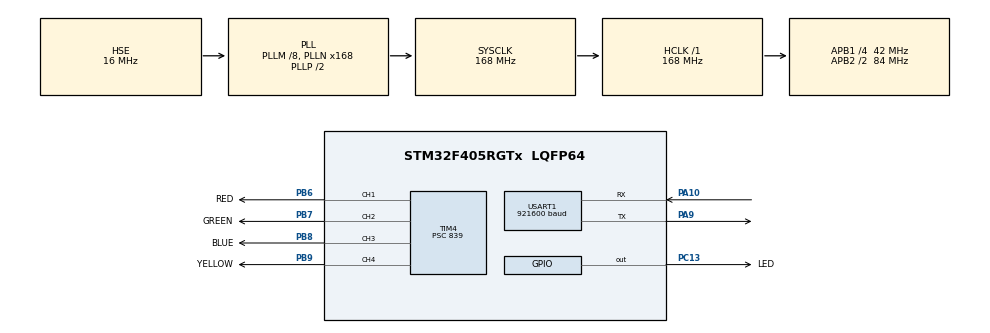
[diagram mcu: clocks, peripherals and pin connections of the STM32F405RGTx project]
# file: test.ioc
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Mcu.Family=STM32F4
Mcu.Name=STM32F405RGTx
Mcu.Package=LQFP64
Mcu.UserConstants=SAMPLE_RANGE,1000
NVIC.PriorityGroup=NVIC_PRIORITYGROUP_4
PA10.Mode=Asynchronous
PA10.Signal=USART1_RX
PA13.Mode=Trace_Asynchronous_SW
PA13.Signal=SYS_JTMS-SWDIO
PA14.Mode=Trace_Asynchronous_SW
PA14.Signal=SYS_JTCK-SWCLK
PA9.Mode=Asynchronous
PA9.Signal=USART1_TX
PB3.Mode=Trace_Asynchronous_SW
PB3.Signal=SYS_JTDO-SWO
PB6.GPIO_Label=RED
PB6.Signal=S_TIM4_CH1
PB7.GPIO_Label=GREEN
PB7.Signal=S_TIM4_CH2
PB8.GPIO_Label=BLUE
PB8.Signal=S_TIM4_CH3
PB9.GPIO_Label=YELLOW
PB9.Signal=S_TIM4_CH4
PC13-ANTI_TAMP.GPIO_Label=LED
PC13-ANTI_TAMP.GPIO_ModeDefaultOutputPP=GPIO_MODE_OUTPUT_OD
PC13-ANTI_TAMP.GPIO_PuPd=GPIO_NOPULL
PC13-ANTI_TAMP.PinState=GPIO_PIN_SET
PC13-ANTI_TAMP.Signal=GPIO_Output
PH0-OSC_IN.Mode=HSE-External-Oscillator
PH0-OSC_IN.Signal=RCC_OSC_IN
PH1-OSC_OUT.Mode=HSE-External-Oscillator
PH1-OSC_OUT.Signal=RCC_OSC_OUT
ProjectManager.HeapSize=0x200
ProjectManager.StackSize=0x400
ProjectManager.TargetToolchain=STM32CubeIDE
RCC.48MHZClocksFreq_Value=84000000
RCC.AHBFreq_Value=168000000
RCC.APB1CLKDivider=RCC_HCLK_DIV4
RCC.APB1Freq_Value=42000000
RCC.APB1TimFreq_Value=84000000
RCC.APB2CLKDivider=RCC_HCLK_DIV2
RCC.APB2Freq_Value=84000000
RCC.APB2TimFreq_Value=168000000
RCC.CortexFreq_Value=168000000
RCC.HCLKFreq_Value=168000000
RCC.HSE_VALUE=16000000
RCC.HSI_VALUE=16000000
RCC.LSE_VALUE=32768
RCC.PLLM=8
RCC.PLLN=168
RCC.PLLSourceVirtual=RCC_PLLSOURCE_HSE
RCC.SYSCLKFreq_VALUE=168000000
RCC.SYSCLKSource=RCC_SYSCLKSOURCE_PLLCLK
RCC.VCOOutputFreq_Value=336000000
SH.S_TIM4_CH1.0=TIM4_CH1,PWM Generation1 CH1
SH.S_TIM4_CH2.0=TIM4_CH2,PWM Generation2 CH2
SH.S_TIM4_CH3.0=TIM4_CH3,PWM Generation3 CH3
SH.S_TIM4_CH4.0=TIM4_CH4,PWM Generation4 CH4
TIM4.Channel-PWM\ Generation1\ CH1=TIM_CHANNEL_1
TIM4.Channel-PWM\ Generation2\ CH2=TIM_CHANNEL_2
TIM4.Channel-PWM\ Generation3\ CH3=TIM_CHANNEL_3
TIM4.Channel-PWM\ Generation4\ CH4=TIM_CHANNEL_4
TIM4.OCFastMode_PWM-PWM\ Generation1\ CH1=TIM_OCFAST_DISABLE
TIM4.OCPolarity_1=TIM_OCPOLARITY_LOW
TIM4.OCPolarity_2=TIM_OCPOLARITY_LOW
TIM4.OCPolarity_3=TIM_OCPOLARITY_LOW
TIM4.OCPolarity_4=TIM_OCPOLARITY_LOW
TIM4.Period=SAMPLE_RANGE - 1
TIM4.Prescaler=839
TIM4.Pulse-PWM\ Generation1\ CH1=0
TIM4.Pulse-PWM\ Generation2\ CH2=0
TIM4.Pulse-PWM\ Generation3\ CH3=0
TIM4.Pulse-PWM\ Generation4\ CH4=0
TIM4.TIM_MasterOutputTrigger=TIM_TRGO_ENABLE
USART1.BaudRate=921600
USART1.VirtualMode=VM_ASYNC
VP_TIM4_VS_ClockSourceINT.Mode=Internal
board=custom

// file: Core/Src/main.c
/* USER CODE BEGIN Header */
/**
 ******************************************************************************
 * @file           : main.c
 * @brief          : Main program body
 ******************************************************************************
 * @attention
 *
 * Copyright (c) 2024 STMicroelectronics.
 * All rights reserved.
 *
 * This software is licensed under terms that can be found in the LICENSE file
 * in the root directory of this software component.
 * If no LICENSE file comes with this software, it is provided AS-IS.
 *
 ******************************************************************************
 */
/* USER CODE END Header */
#include "main.h"

/* USER CODE BEGIN Includes */
#include <stdio.h>
#include <math.h>
/* USER CODE END Includes */

/* USER CODE BEGIN PD */

#define SAMPLE_DELAY 10
#define SAMPLE_FREQ (1000 / SAMPLE_DELAY)
#define SAMPLE_RANGE 1000
#define SAMPLE_MID (SAMPLE_RANGE / 2)

/* USER CODE END PD */

TIM_HandleTypeDef htim4;

UART_HandleTypeDef huart1;

void SystemClock_Config(void);
static void MX_GPIO_Init(void);
static void MX_TIM4_Init(void);
static void MX_USART1_UART_Init(void);

/* USER CODE BEGIN 0 */

// Send printf to uart1
int _write(int fd, char *ptr, int len) {
    HAL_StatusTypeDef hstatus;

    if (fd == 1 || fd == 2) {
        hstatus = HAL_UART_Transmit(&huart1, (uint8_t*) ptr, len, HAL_MAX_DELAY);
        if (hstatus == HAL_OK)
            return len;
        else
            return -1;
    }
    return -1;
}

void HAL_TIM_PeriodElapsedCallback(TIM_HandleTypeDef *htim) {
    if (htim->Instance == TIM4) {
        HAL_GPIO_TogglePin(LED_GPIO_Port, LED_Pin);
    }
}

/* USER CODE END 0 */

int main(void)
{

  /* MCU Configuration--------------------------------------------------------*/

  /* Reset of all peripherals, Initializes the Flash interface and the Systick. */
  HAL_Init();

  /* Configure the system clock */
  SystemClock_Config();

  /* Initialize all configured peripherals */
  MX_GPIO_Init();
  MX_TIM4_Init();
  MX_USART1_UART_Init();
  /* USER CODE BEGIN 2 */

    printf("\n\n\n\n--------\nStarting\n");
    printf("Sample freq = %d\n", SAMPLE_FREQ);

    HAL_TIM_PWM_Start(&htim4, TIM_CHANNEL_1);
    HAL_TIM_PWM_Start(&htim4, TIM_CHANNEL_2);
    HAL_TIM_PWM_Start(&htim4, TIM_CHANNEL_3);
    HAL_TIM_PWM_Start(&htim4, TIM_CHANNEL_4);

  /* USER CODE END 2 */

  /* Infinite loop */
  /* USER CODE BEGIN WHILE */

    uint32_t led_channels[] = {
        TIM_CHANNEL_1,
        TIM_CHANNEL_2,
        TIM_CHANNEL_3,
        TIM_CHANNEL_4
    };

    float angles[] = {
        0,          // 0 degrees
        M_PI_2,     // 90 degrees
        M_PI,       // 180 degrees
        3 * M_PI_2  // 270 degrees
    };

    float angle_changes[] = {
        4 * (2 * M_PI / SAMPLE_FREQ),
        4 * (2 * M_PI / SAMPLE_FREQ),
        4 * (2 * M_PI / SAMPLE_FREQ),
        4 * (2 * M_PI / SAMPLE_FREQ)
    };

    uint32_t now = 0, loop_cnt = 0, next_tick = 1000, next_sample = SAMPLE_DELAY;

    while (1) {

        now = HAL_GetTick();

        if (now >= next_sample) {
            for (int i = 0; i < sizeof(angles) / sizeof(angles[0]); ++i) {
                angles[i] += angle_changes[i];
                if (angles[i] >= 2 * M_PI)
                    angles[i] -= (2 * M_PI);

                __HAL_TIM_SET_COMPARE(&htim4, led_channels[i], SAMPLE_MID + (SAMPLE_MID * sin(angles[i]) ));

            }
            next_sample = now + SAMPLE_DELAY;
        }

        if (now >= next_tick) {

            printf("Tick %lu - loops = %lu\n", now / 1000, loop_cnt);

            loop_cnt = 0;
            next_tick = now + 1000;
        }

        ++loop_cnt;

    /* USER CODE END WHILE */

    }
}

void SystemClock_Config(void)
{
  RCC_OscInitTypeDef RCC_OscInitStruct = {0};
  RCC_ClkInitTypeDef RCC_ClkInitStruct = {0};

  /** Configure the main internal regulator output voltage
  */
  __HAL_RCC_PWR_CLK_ENABLE();
  __HAL_PWR_VOLTAGESCALING_CONFIG(PWR_REGULATOR_VOLTAGE_SCALE1);

  /** Initializes the RCC Oscillators according to the specified parameters
  * in the RCC_OscInitTypeDef structure.
  */
  RCC_OscInitStruct.OscillatorType = RCC_OSCILLATORTYPE_HSE;
  RCC_OscInitStruct.HSEState = RCC_HSE_ON;
  RCC_OscInitStruct.PLL.PLLState = RCC_PLL_ON;
  RCC_OscInitStruct.PLL.PLLSource = RCC_PLLSOURCE_HSE;
  RCC_OscInitStruct.PLL.PLLM = 8;
  RCC_OscInitStruct.PLL.PLLN = 168;
  RCC_OscInitStruct.PLL.PLLP = RCC_PLLP_DIV2;
  RCC_OscInitStruct.PLL.PLLQ = 4;
  if (HAL_RCC_OscConfig(&RCC_OscInitStruct) != HAL_OK)
  {
    Error_Handler();
  }

  /** Initializes the CPU, AHB and APB buses clocks
  */
  RCC_ClkInitStruct.ClockType = RCC_CLOCKTYPE_HCLK|RCC_CLOCKTYPE_SYSCLK
                              |RCC_CLOCKTYPE_PCLK1|RCC_CLOCKTYPE_PCLK2;
  RCC_ClkInitStruct.SYSCLKSource = RCC_SYSCLKSOURCE_PLLCLK;
  RCC_ClkInitStruct.AHBCLKDivider = RCC_SYSCLK_DIV1;
  RCC_ClkInitStruct.APB1CLKDivider = RCC_HCLK_DIV4;
  RCC_ClkInitStruct.APB2CLKDivider = RCC_HCLK_DIV2;

  if (HAL_RCC_ClockConfig(&RCC_ClkInitStruct, FLASH_LATENCY_5) != HAL_OK)
  {
    Error_Handler();
  }
}

static void MX_TIM4_Init(void)
{

  TIM_ClockConfigTypeDef sClockSourceConfig = {0};
  TIM_MasterConfigTypeDef sMasterConfig = {0};
  TIM_OC_InitTypeDef sConfigOC = {0};

  htim4.Instance = TIM4;
  htim4.Init.Prescaler = 839;
  htim4.Init.CounterMode = TIM_COUNTERMODE_UP;
  htim4.Init.Period = SAMPLE_RANGE - 1;
  htim4.Init.ClockDivision = TIM_CLOCKDIVISION_DIV1;
  htim4.Init.AutoReloadPreload = TIM_AUTORELOAD_PRELOAD_DISABLE;
  if (HAL_TIM_Base_Init(&htim4) != HAL_OK)
  {
    Error_Handler();
  }
  sClockSourceConfig.ClockSource = TIM_CLOCKSOURCE_INTERNAL;
  if (HAL_TIM_ConfigClockSource(&htim4, &sClockSourceConfig) != HAL_OK)
  {
    Error_Handler();
  }
  if (HAL_TIM_PWM_Init(&htim4) != HAL_OK)
  {
    Error_Handler();
  }
  sMasterConfig.MasterOutputTrigger = TIM_TRGO_ENABLE;
  sMasterConfig.MasterSlaveMode = TIM_MASTERSLAVEMODE_DISABLE;
  if (HAL_TIMEx_MasterConfigSynchronization(&htim4, &sMasterConfig) != HAL_OK)
  {
    Error_Handler();
  }
  sConfigOC.OCMode = TIM_OCMODE_PWM1;
  sConfigOC.Pulse = 0;
  sConfigOC.OCPolarity = TIM_OCPOLARITY_LOW;
  sConfigOC.OCFastMode = TIM_OCFAST_DISABLE;
  if (HAL_TIM_PWM_ConfigChannel(&htim4, &sConfigOC, TIM_CHANNEL_1) != HAL_OK)
  {
    Error_Handler();
  }
  if (HAL_TIM_PWM_ConfigChannel(&htim4, &sConfigOC, TIM_CHANNEL_2) != HAL_OK)
  {
    Error_Handler();
  }
  if (HAL_TIM_PWM_ConfigChannel(&htim4, &sConfigOC, TIM_CHANNEL_3) != HAL_OK)
  {
    Error_Handler();
  }
  if (HAL_TIM_PWM_ConfigChannel(&htim4, &sConfigOC, TIM_CHANNEL_4) != HAL_OK)
  {
    Error_Handler();
  }
  HAL_TIM_MspPostInit(&htim4);

}

static void MX_USART1_UART_Init(void)
{

  huart1.Instance = USART1;
  huart1.Init.BaudRate = 921600;
  huart1.Init.WordLength = UART_WORDLENGTH_8B;
  huart1.Init.StopBits = UART_STOPBITS_1;
  huart1.Init.Parity = UART_PARITY_NONE;
  huart1.Init.Mode = UART_MODE_TX_RX;
  huart1.Init.HwFlowCtl = UART_HWCONTROL_NONE;
  huart1.Init.OverSampling = UART_OVERSAMPLING_16;
  if (HAL_UART_Init(&huart1) != HAL_OK)
  {
    Error_Handler();
  }

}

static void MX_GPIO_Init(void)
{
  GPIO_InitTypeDef GPIO_InitStruct = {0};

  /* GPIO Ports Clock Enable */
  __HAL_RCC_GPIOC_CLK_ENABLE();
  __HAL_RCC_GPIOH_CLK_ENABLE();
  __HAL_RCC_GPIOA_CLK_ENABLE();
  __HAL_RCC_GPIOB_CLK_ENABLE();

  /*Configure GPIO pin Output Level */
  HAL_GPIO_WritePin(LED_GPIO_Port, LED_Pin, GPIO_PIN_SET);

  /*Configure GPIO pin : LED_Pin */
  GPIO_InitStruct.Pin = LED_Pin;
  GPIO_InitStruct.Mode = GPIO_MODE_OUTPUT_OD;
  GPIO_InitStruct.Pull = GPIO_NOPULL;
  GPIO_InitStruct.Speed = GPIO_SPEED_FREQ_LOW;
  HAL_GPIO_Init(LED_GPIO_Port, &GPIO_InitStruct);

}

void Error_Handler(void)
{
    __disable_irq();
    while (1) {
    }
}
